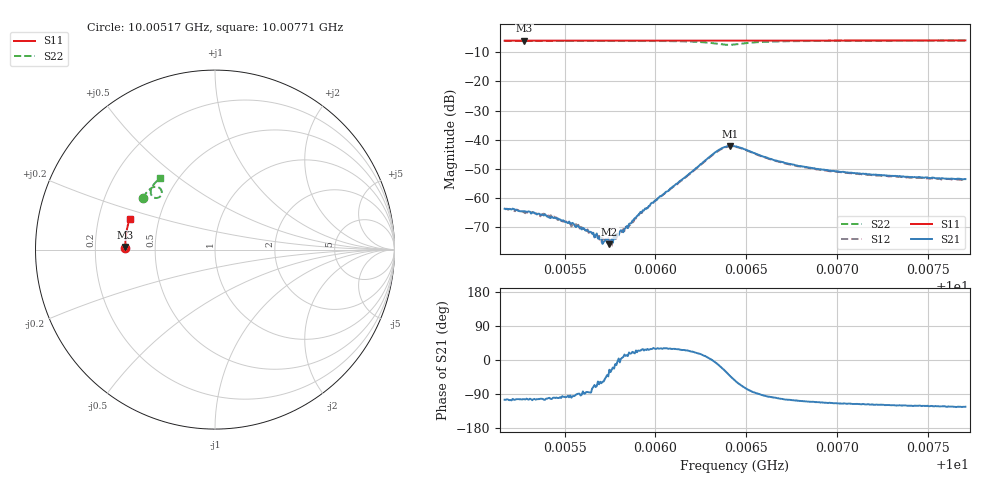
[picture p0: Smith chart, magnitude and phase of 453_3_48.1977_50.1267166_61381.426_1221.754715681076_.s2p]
#  HZ  S  RI  R  50.00
! Rohde & Schwarz Vector Network Analyzer
! Rohde-Schwarz,ZNB20-2Port,1311601062101988,3.16
! Created: UTC 3/20/2024, 11:56:20 AM
! freq[Hz]  re:S11  im:S11  re:S21  im:S21  re:S12  im:S12  re:S22  im:S22
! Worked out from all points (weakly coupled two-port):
!   401 points, 10.00517 GHz to 10.00771 GHz, reference 50 ohm
!   highest |S21| = -42.14 dB at 10.00641 GHz (marker M1); lowest = -75.9 dB at 10.00575 GHz (marker M2)
!   lowest |S11| = -6.0 dB at 10.00528 GHz (marker M3), VSWR 3.00, Z = 16.7 + j0.673 ohm
!   |S11| at or under -10 dB: nowhere
!   |S22| runs from -7.4 to -6.0 dB; largest |S21 - S12| = 0.0005
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1.0005169e10  -0.5004 0.00805  -0.000168 -0.000632  -0.000118 -0.000648  -0.4034 0.2874
1.0005277e10  -0.5002 0.0151  -0.000137 -0.000578  -9.63e-05 -0.000557  -0.3993 0.2935
1.0005436e10  -0.5003 0.0255  -7.74e-05 -0.00045  -5.66e-05 -0.000461  -0.3926 0.303
1.0005563e10  -0.5001 0.0337  -8.37e-06 -0.000317  1.14e-05 -0.000355  -0.387 0.3107
1.0005595e10  -0.4999 0.0358  -6.85e-06 -0.000288  1.04e-05 -0.000311  -0.3856 0.3126
1.0005639e10  -0.4999 0.0387  2e-05 -0.000263  5.54e-05 -0.000256  -0.3833 0.3153
1.0005702e10  -0.4996 0.0428  9.67e-05 -0.000176  8.06e-05 -0.000151  -0.3801 0.3191
1.0005734e10  -0.4996 0.0449  0.000153 -0.000127  0.000125 -0.000116  -0.3783 0.3214
1.0005747e10  -0.4996 0.0457  0.000144 -6.9e-05  0.000156 -7.45e-05  -0.3778 0.3219
1.0005766e10  -0.4994 0.0469  0.000161 -5.77e-05  0.000178 -8.21e-05  -0.3766 0.3232
1.0005804e10  -0.4992 0.0494  0.000264 -2.91e-05  0.00025 -3.95e-06  -0.3744 0.3256
1.0005836e10  -0.499 0.0514  0.000296 5.83e-05  0.00031 6.89e-05  -0.3725 0.3275
1.0005906e10  -0.4987 0.0561  0.000463 0.000216  0.000446 0.000211  -0.3678 0.3322
1.000602e10  -0.498 0.0634  0.000891 0.000507  0.000823 0.000537  -0.3587 0.3398
1.0006331e10  -0.4951 0.0833  0.00607 -0.000685  0.00595 -0.000357  -0.2996 0.3322
1.0006375e10  -0.4947 0.086  0.00669 -0.00307  0.00671 -0.00265  -0.2972 0.3101
1.0006413e10  -0.4943 0.0882  0.00572 -0.00534  0.00595 -0.00491  -0.3092 0.293
1.0006439e10  -0.4942 0.0897  0.0045 -0.00628  0.00478 -0.00586  -0.3218 0.2878
1.0006648e10  -0.4926 0.1029  -0.000697 -0.00447  -0.000474 -0.00443  -0.3586 0.326
1.0006864e10  -0.49 0.1167  -0.00113 -0.00307  -0.000982 -0.00307  -0.3494 0.3507
1.0007289e10  -0.4838 0.1437  -0.00116 -0.0021  -0.00103 -0.00211  -0.3277 0.3781
1.0007708e10  -0.4761 0.1695  -0.00116 -0.00176  -0.00104 -0.00178  -0.3062 0.3986
